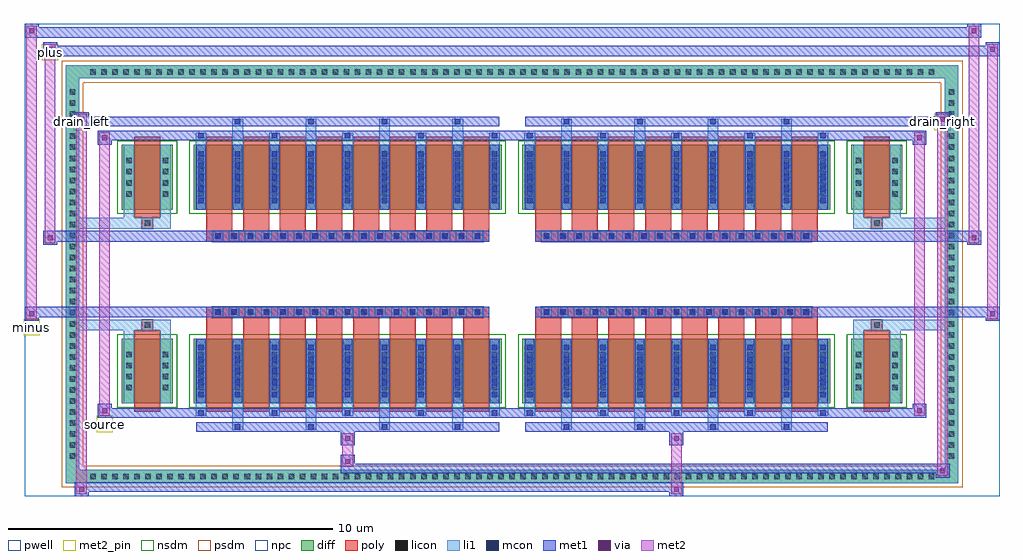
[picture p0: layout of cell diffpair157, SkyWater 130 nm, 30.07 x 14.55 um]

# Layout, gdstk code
import gdstk
lib = gdstk.Library(unit=1e-6, precision=5e-09)
def R(c, l, rs):  # rectangles x0, y0, x1, y1
    for r in rs: c.add(gdstk.rectangle(r[:2], r[2:], *l))
def A(c, l, x, y, w, h, nx, ny, dx, dy):  # array of equal rectangles
    R(c, l, [(x+i*dx, y+j*dy, x+i*dx+w, y+j*dy+h) for i in range(nx) for j in range(ny)])
def P(c, l, *ps):  # polygons
    for p in ps: c.add(gdstk.Polygon(p, *l))
pwell = (64, 44)
diff = (65, 20)
poly = (66, 20)
licon = (66, 44)
li1 = (67, 20)
mcon = (67, 44)
met1 = (68, 20)
via = (68, 44)
met2_pin = (69, 16)
met2 = (69, 20)
nsdm = (93, 44)
psdm = (94, 20)
npc = (95, 20)

diffpair157 = lib.new_cell('diffpair157')
R(diffpair157, pwell, [(-15.02,-6.84,15.02,7.71), (-12.34,-5.03,-0.01,-0.805), (0.01,-5.03,12.34,-0.805), (-12.34,0.805,-0.01,5.03), (0.01,0.805,12.34,5.03)])
A(diffpair157, diff, -13.125, -6.44, 0.41, 0.41, 77, 2, 0.34, 12.47)
A(diffpair157, diff, -13.75, -5.815, 0.41, 0.41, 1, 34, 0, 0.34)
A(diffpair157, diff, 13.34, -5.815, 0.41, 0.41, 1, 34, 0, 0.34)
R(diffpair157, diff, [(-13.125,-6.44,13.125,-6.03), (-13.75,-5.815,-13.34,5.815), (13.34,-5.815,13.75,5.815), (-12.03,-3.985,-10.45,-1.985), (-9.81,-3.985,-0.32,-1.985), (0.32,-3.985,9.81,-1.985), (10.45,-3.985,12.03,-1.985), (-12.03,1.985,-10.45,3.985), (-9.81,1.985,-0.32,3.985), (0.32,1.985,9.81,3.985), (10.45,1.985,12.03,3.985), (-13.125,6.03,13.125,6.44)])
P(diffpair157, diff, [(13.75,6.44),(-13.75,6.44),(-13.75,-6.03),(-13.34,-6.03),(-13.34,6.03),(13.34,6.03),(13.34,-6.03),(-13.34,-6.03),(-13.75,-6.03),(-13.75,-6.44),(13.75,-6.44)])
A(diffpair157, poly, -9.42, -4.235, 0.8, 2.5, 8, 2, 1.13, 5.97)
A(diffpair157, poly, 0.71, -4.235, 0.8, 2.5, 8, 2, 1.13, 5.97)
A(diffpair157, poly, -9.42, -1.735, 0.8, 0.4, 8, 2, 1.13, 3.07)
A(diffpair157, poly, 0.71, -1.735, 0.8, 0.4, 8, 2, 1.13, 3.07)
A(diffpair157, poly, -9.23, -1.335, 0.33, 0.33, 17, 2, 0.5, 2.34)
A(diffpair157, poly, 0.9, -1.335, 0.33, 0.33, 17, 2, 0.5, 2.34)
R(diffpair157, poly, [(-11.64,-4.235,-10.84,-1.735), (10.84,-4.235,11.64,-1.735), (-11.405,-1.735,-11.075,-1.405), (-11.405,-1.735,-11.075,-1.405), (11.075,-1.735,11.405,-1.405), (11.075,-1.735,11.405,-1.405), (-9.42,-1.335,-0.71,-1.005), (0.71,-1.335,9.42,-1.005), (-9.42,1.005,-0.71,1.335), (0.71,1.005,9.42,1.335), (-11.405,1.405,-11.075,1.735), (-11.405,1.405,-11.075,1.735), (11.075,1.405,11.405,1.735), (11.075,1.405,11.405,1.735), (-11.64,1.735,-10.84,4.235), (10.84,1.735,11.64,4.235)])
A(diffpair157, licon, -13.005, -6.32, 0.17, 0.17, 77, 2, 0.34, 12.47)
A(diffpair157, licon, -13.63, -5.695, 0.17, 0.17, 1, 34, 0, 0.34)
A(diffpair157, licon, 13.46, -5.695, 0.17, 0.17, 1, 34, 0, 0.34)
A(diffpair157, licon, -11.89, -3.58, 0.17, 0.17, 1, 4, 0, 0.34)
A(diffpair157, licon, -10.76, -3.58, 0.17, 0.17, 1, 4, 0, 0.34)
A(diffpair157, licon, -9.67, -3.58, 0.17, 0.17, 9, 4, 1.13, 0.34)
A(diffpair157, licon, 0.46, -3.58, 0.17, 0.17, 9, 4, 1.13, 0.34)
A(diffpair157, licon, 10.59, -3.58, 0.17, 0.17, 1, 4, 0, 0.34)
A(diffpair157, licon, 11.72, -3.58, 0.17, 0.17, 1, 4, 0, 0.34)
A(diffpair157, licon, -9.15, -1.255, 0.17, 0.17, 17, 2, 0.5, 2.34)
A(diffpair157, licon, 0.98, -1.255, 0.17, 0.17, 17, 2, 0.5, 2.34)
A(diffpair157, licon, -11.89, 2.39, 0.17, 0.17, 1, 4, 0, 0.34)
A(diffpair157, licon, -10.76, 2.39, 0.17, 0.17, 1, 4, 0, 0.34)
A(diffpair157, licon, -9.67, 2.39, 0.17, 0.17, 9, 4, 1.13, 0.34)
A(diffpair157, licon, 0.46, 2.39, 0.17, 0.17, 9, 4, 1.13, 0.34)
A(diffpair157, licon, 10.59, 2.39, 0.17, 0.17, 1, 4, 0, 0.34)
A(diffpair157, licon, 11.72, 2.39, 0.17, 0.17, 1, 4, 0, 0.34)
R(diffpair157, licon, [(-11.325,-1.655,-11.155,-1.485), (11.155,-1.655,11.325,-1.485), (-11.325,1.485,-11.155,1.655), (11.155,1.485,11.325,1.655)])
A(diffpair157, li1, -13.085, -6.4, 0.33, 0.33, 77, 2, 0.34, 12.47)
A(diffpair157, li1, -13.71, -5.775, 0.33, 0.33, 1, 34, 0, 0.34)
A(diffpair157, li1, 13.38, -5.775, 0.33, 0.33, 1, 34, 0, 0.34)
A(diffpair157, li1, -8.62, -4.79, 0.33, 0.805, 4, 2, 2.26, 8.775)
A(diffpair157, li1, -8.54, -4.79, 0.17, 0.17, 4, 2, 2.26, 9.41)
A(diffpair157, li1, 1.51, -4.79, 0.33, 0.805, 4, 2, 2.26, 8.775)
A(diffpair157, li1, 1.59, -4.79, 0.17, 0.17, 4, 2, 2.26, 9.41)
A(diffpair157, li1, -9.75, -4.36, 0.33, 0.375, 5, 2, 2.26, 8.345)
A(diffpair157, li1, -9.67, -4.36, 0.17, 0.17, 5, 2, 2.26, 8.55)
A(diffpair157, li1, 0.38, -4.36, 0.33, 0.375, 5, 2, 2.26, 8.345)
A(diffpair157, li1, 0.46, -4.36, 0.17, 0.17, 5, 2, 2.26, 8.55)
A(diffpair157, li1, -9.75, -3.985, 0.33, 2, 9, 2, 1.13, 5.97)
A(diffpair157, li1, 0.38, -3.985, 0.33, 2, 9, 2, 1.13, 5.97)
A(diffpair157, li1, -9.67, -3.79, 0.17, 0.17, 9, 5, 1.13, 0.36)
A(diffpair157, li1, -9.67, -3.79, 0.17, 1.61, 9, 2, 1.13, 5.97)
A(diffpair157, li1, 0.46, -3.79, 0.17, 0.17, 9, 5, 1.13, 0.36)
A(diffpair157, li1, 0.46, -3.79, 0.17, 1.61, 9, 2, 1.13, 5.97)
A(diffpair157, li1, -11.97, -3.66, 0.33, 0.33, 1, 4, 0, 0.34)
A(diffpair157, li1, -10.84, -3.66, 0.33, 0.33, 1, 4, 0, 0.34)
A(diffpair157, li1, -9.75, -3.66, 0.33, 0.33, 9, 4, 1.13, 0.34)
A(diffpair157, li1, 0.38, -3.66, 0.33, 0.33, 9, 4, 1.13, 0.34)
A(diffpair157, li1, 10.51, -3.66, 0.33, 0.33, 1, 4, 0, 0.34)
A(diffpair157, li1, 11.64, -3.66, 0.33, 0.33, 1, 4, 0, 0.34)
A(diffpair157, li1, -9.23, -1.335, 0.33, 0.33, 17, 2, 0.5, 2.34)
A(diffpair157, li1, 0.9, -1.335, 0.33, 0.33, 17, 2, 0.5, 2.34)
A(diffpair157, li1, -9.67, 2.18, 0.17, 0.17, 9, 5, 1.13, 0.36)
A(diffpair157, li1, 0.46, 2.18, 0.17, 0.17, 9, 5, 1.13, 0.36)
A(diffpair157, li1, -11.97, 2.31, 0.33, 0.33, 1, 4, 0, 0.34)
A(diffpair157, li1, -10.84, 2.31, 0.33, 0.33, 1, 4, 0, 0.34)
A(diffpair157, li1, -9.75, 2.31, 0.33, 0.33, 9, 4, 1.13, 0.34)
A(diffpair157, li1, 0.38, 2.31, 0.33, 0.33, 9, 4, 1.13, 0.34)
A(diffpair157, li1, 10.51, 2.31, 0.33, 0.33, 1, 4, 0, 0.34)
A(diffpair157, li1, 11.64, 2.31, 0.33, 0.33, 1, 4, 0, 0.34)
R(diffpair157, li1, [(-13.75,-6.44,-13.34,-6.03), (-13.75,-6.44,-13.34,-6.03), (-13.34,-6.44,13.34,-6.03), (13.34,-6.44,13.75,-6.03), (13.34,-6.44,13.75,-6.03), (-13.75,-6.03,-13.34,6.03), (13.34,-6.03,13.75,6.03), (-11.97,-3.985,-11.64,-1.985), (-10.84,-3.985,-10.51,-1.985), (10.51,-3.985,10.84,-1.985), (11.64,-3.985,11.97,-1.985), (-11.97,-1.985,-11.64,-1.405), (-10.84,-1.985,-10.51,-1.405), (10.51,-1.985,10.84,-1.405), (11.64,-1.985,11.97,-1.405), (-13.75,-1.735,-11.405,-1.405), (-11.97,-1.735,-11.405,-1.405), (-11.405,-1.735,-11.075,-1.405), (-11.075,-1.735,-10.51,-1.405), (10.51,-1.735,11.075,-1.405), (11.075,-1.735,11.405,-1.405), (11.075,-1.735,13.75,-1.405), (11.405,-1.735,11.97,-1.405), (-13.75,1.405,-11.405,1.735), (-11.97,1.405,-11.405,1.735), (-11.97,1.405,-11.64,1.985), (-11.405,1.405,-11.075,1.735), (-11.075,1.405,-10.51,1.735), (-10.84,1.405,-10.51,1.985), (10.51,1.405,11.075,1.735), (10.51,1.405,10.84,1.985), (11.075,1.405,11.405,1.735), (11.075,1.405,13.75,1.735), (11.405,1.405,11.97,1.735), (11.64,1.405,11.97,1.985), (-11.97,1.985,-11.64,3.985), (-10.84,1.985,-10.51,3.985), (10.51,1.985,10.84,3.985), (11.64,1.985,11.97,3.985), (-13.75,6.03,-13.34,6.44), (-13.75,6.03,-13.34,6.44), (-13.34,6.03,13.34,6.44), (13.34,6.03,13.75,6.44), (13.34,6.03,13.75,6.44)])
A(diffpair157, mcon, -8.54, -4.79, 0.17, 0.17, 4, 2, 2.26, 9.41)
A(diffpair157, mcon, 1.59, -4.79, 0.17, 0.17, 4, 2, 2.26, 9.41)
A(diffpair157, mcon, -9.67, -4.36, 0.17, 0.17, 5, 2, 2.26, 8.55)
A(diffpair157, mcon, 0.46, -4.36, 0.17, 0.17, 5, 2, 2.26, 8.55)
A(diffpair157, mcon, -9.67, -3.79, 0.17, 0.17, 9, 5, 1.13, 0.36)
A(diffpair157, mcon, 0.46, -3.79, 0.17, 0.17, 9, 5, 1.13, 0.36)
A(diffpair157, mcon, -9.15, -1.255, 0.17, 0.17, 17, 2, 0.5, 2.34)
A(diffpair157, mcon, 0.98, -1.255, 0.17, 0.17, 17, 2, 0.5, 2.34)
A(diffpair157, mcon, -9.67, 2.18, 0.17, 0.17, 9, 5, 1.13, 0.36)
A(diffpair157, mcon, 0.46, 2.18, 0.17, 0.17, 9, 5, 1.13, 0.36)
A(diffpair157, met1, -8.6, -4.85, 0.29, 0.29, 4, 2, 2.26, 9.41)
A(diffpair157, met1, 1.53, -4.85, 0.29, 0.29, 4, 2, 2.26, 9.41)
A(diffpair157, met1, -9.73, -4.42, 0.29, 0.29, 5, 2, 2.26, 8.55)
A(diffpair157, met1, 0.4, -4.42, 0.29, 0.29, 5, 2, 2.26, 8.55)
A(diffpair157, met1, -9.73, -3.985, 0.29, 2, 9, 2, 1.13, 5.97)
A(diffpair157, met1, 0.4, -3.985, 0.29, 2, 9, 2, 1.13, 5.97)
A(diffpair157, met1, -9.73, -3.85, 0.29, 0.29, 9, 5, 1.13, 0.36)
A(diffpair157, met1, 0.4, -3.85, 0.29, 0.29, 9, 5, 1.13, 0.36)
A(diffpair157, met1, -9.21, -1.315, 0.29, 0.29, 17, 2, 0.5, 2.34)
A(diffpair157, met1, 0.92, -1.315, 0.29, 0.29, 17, 2, 0.5, 2.34)
A(diffpair157, met1, -9.73, 2.12, 0.29, 0.29, 9, 5, 1.13, 0.36)
A(diffpair157, met1, 0.4, 2.12, 0.29, 0.29, 9, 5, 1.13, 0.36)
R(diffpair157, met1, [(-13.48,-6.84,-13.05,-6.41), (4.85,-6.84,5.28,-6.41), (-13.48,-6.7,5.28,-6.41), (13.05,-6.27,13.48,-5.84), (-5.28,-6.13,13.48,-5.84), (-5.28,-5.99,-4.85,-5.56), (-5.28,-5.28,-4.85,-4.85), (4.85,-5.28,5.28,-4.85), (-9.73,-4.85,-0.4,-4.56), (0.4,-4.85,9.73,-4.56), (-12.77,-4.42,-12.34,-3.99), (-12.77,-4.42,-9.73,-4.13), (-9.73,-4.42,-0.4,-4.13), (-0.4,-4.42,0.4,-4.13), (0.4,-4.42,9.73,-4.13), (9.73,-4.42,12.77,-4.13), (12.34,-4.42,12.77,-3.99), (-15.02,-1.435,-14.59,-1.005), (14.59,-1.435,15.02,-1.005), (-15.02,-1.335,-0.71,-1.005), (-9.42,-1.335,-0.71,-1.005), (0.71,-1.335,9.42,-1.005), (0.71,-1.335,15.02,-1.005), (-14.45,0.905,-14.02,1.335), (14.02,0.905,14.45,1.335), (-14.45,1.005,-9.42,1.335), (-9.42,1.005,-0.71,1.335), (0.71,1.005,9.42,1.335), (9.42,1.005,14.45,1.335), (-12.77,3.99,-12.34,4.42), (12.34,3.99,12.77,4.42), (-12.77,4.13,-9.73,4.42), (-9.73,4.13,-0.4,4.42), (-0.4,4.13,0.4,4.42), (0.4,4.13,9.73,4.42), (9.73,4.13,12.77,4.42), (-13.48,4.56,-13.05,4.99), (-13.48,4.56,-9.73,4.85), (-9.73,4.56,-0.4,4.85), (0.4,4.56,9.73,4.85), (9.73,4.56,13.48,4.85), (13.05,4.56,13.48,4.99), (-14.45,6.71,-14.02,7.14), (-14.45,6.71,-12.34,7.04), (-12.34,6.71,12.34,7.04), (12.34,6.71,15.02,7.04), (14.59,6.71,15.02,7.14), (-15.02,7.28,-14.59,7.71), (-15.02,7.28,-12.34,7.61), (-12.34,7.28,12.34,7.61), (12.34,7.28,14.45,7.61), (14.02,7.28,14.45,7.71)])
R(diffpair157, via, [(-13.34,-6.7,-13.19,-6.55), (4.99,-6.7,5.14,-6.55), (13.19,-6.13,13.34,-5.98), (-5.14,-5.85,-4.99,-5.7), (-5.14,-5.14,-4.99,-4.99), (4.99,-5.14,5.14,-4.99), (-12.63,-4.28,-12.48,-4.13), (12.48,-4.28,12.63,-4.13), (-14.88,-1.295,-14.73,-1.145), (14.73,-1.295,14.88,-1.145), (-14.31,1.045,-14.16,1.195), (14.16,1.045,14.31,1.195), (-12.63,4.13,-12.48,4.28), (12.48,4.13,12.63,4.28), (-13.34,4.7,-13.19,4.85), (13.19,4.7,13.34,4.85), (-14.31,6.85,-14.16,7), (14.73,6.85,14.88,7), (-14.88,7.42,-14.73,7.57), (14.16,7.42,14.31,7.57)])
R(diffpair157, met2_pin, [(-12.805,-4.87,-12.305,-4.37), (-15.055,-1.885,-14.555,-1.385), (-13.515,4.44,-13.015,4.94), (13.015,4.44,13.515,4.94), (-14.485,6.59,-13.985,7.09)])
R(diffpair157, met2, [(-13.43,-6.79,-13.1,-6.46), (-13.43,-6.79,-13.1,4.94), (4.9,-6.79,5.23,-6.46), (4.9,-6.46,5.23,-5.23), (13.1,-6.22,13.43,-5.89), (13.1,-6.22,13.43,4.94), (-5.23,-5.94,-4.9,-5.61), (-5.23,-5.61,-4.9,-5.23), (-5.23,-5.23,-4.9,-4.9), (4.9,-5.23,5.23,-4.9), (-12.72,-4.37,-12.39,-4.04), (-12.72,-4.37,-12.39,4.37), (12.39,-4.37,12.72,-4.04), (12.39,-4.37,12.72,4.37), (-14.97,-1.385,-14.64,-1.055), (-14.97,-1.385,-14.64,7.66), (14.64,-1.385,14.97,-1.055), (14.64,-1.385,14.97,7.09), (-14.4,0.955,-14.07,1.285), (-14.4,0.955,-14.07,7.09), (14.07,0.955,14.4,1.285), (14.07,0.955,14.4,7.66), (-12.72,4.04,-12.39,4.37), (12.39,4.04,12.72,4.37), (-13.43,4.61,-13.1,4.94), (13.1,4.61,13.43,4.94), (-14.4,6.76,-14.07,7.09), (14.64,6.76,14.97,7.09), (-14.97,7.33,-14.64,7.66), (14.07,7.33,14.4,7.66)])
P(diffpair157, met2, [(14.97,-1.385),(14.97,-1.385),(14.97,-1.055),(14.97,-1.055)],
  [(14.97,6.76),(14.97,6.76),(14.97,7.09),(14.97,7.09)],
  [(-14.64,-1.385),(-14.64,-1.385),(-14.64,-1.055),(-14.64,-1.055)],
  [(-14.64,7.33),(-14.64,7.33),(-14.64,7.66),(-14.64,7.66)],
  [(14.4,0.955),(14.4,0.955),(14.4,1.285),(14.4,1.285)],
  [(14.4,7.33),(14.4,7.33),(14.4,7.66),(14.4,7.66)],
  [(-14.07,0.955),(-14.07,0.955),(-14.07,1.285),(-14.07,1.285)],
  [(-14.07,6.76),(-14.07,6.76),(-14.07,7.09),(-14.07,7.09)],
  [(-13.1,-6.79),(-13.1,-6.79),(-13.1,-6.46),(-13.1,-6.46)],
  [(-13.1,4.61),(-13.1,4.61),(-13.1,4.94),(-13.1,4.94)],
  [(13.43,-6.22),(13.43,-6.22),(13.43,-5.89),(13.43,-5.89)],
  [(13.43,4.61),(13.43,4.61),(13.43,4.94),(13.43,4.94)],
  [(-12.39,-4.37),(-12.39,-4.37),(-12.39,-4.04),(-12.39,-4.04)],
  [(-12.39,4.04),(-12.39,4.04),(-12.39,4.37),(-12.39,4.37)],
  [(12.72,-4.37),(12.72,-4.37),(12.72,-4.04),(12.72,-4.04)],
  [(12.72,4.04),(12.72,4.04),(12.72,4.37),(12.72,4.37)])
R(diffpair157, nsdm, [(-12.16,-4.115,-10.32,-1.855), (-9.94,-4.115,-0.19,-1.855), (0.19,-4.115,9.94,-1.855), (10.32,-4.115,12.16,-1.855), (-12.16,1.855,-10.32,4.115), (-9.94,1.855,-0.19,4.115), (0.19,1.855,9.94,4.115), (10.32,1.855,12.16,4.115)])
P(diffpair157, psdm, [(13.88,6.57),(-13.88,6.57),(-13.88,-5.9),(-13.21,-5.9),(-13.21,5.9),(13.21,5.9),(13.21,-5.9),(-13.21,-5.9),(-13.88,-5.9),(-13.88,-6.57),(13.88,-6.57)])
A(diffpair157, npc, -9.25, -1.355, 0.37, 0.37, 17, 2, 0.5, 2.34)
A(diffpair157, npc, 0.88, -1.355, 0.37, 0.37, 17, 2, 0.5, 2.34)
R(diffpair157, npc, [(-11.425,-1.755,-11.055,-1.385), (11.055,-1.755,11.425,-1.385), (-9.25,-1.355,-8.38,-0.985), (-9.25,-1.355,-8.38,-0.985), (-8.75,-1.355,-7.88,-0.985), (-8.75,-1.355,-7.88,-0.985), (-8.25,-1.355,-7.38,-0.985), (-8.25,-1.355,-7.38,-0.985), (-7.75,-1.355,-6.88,-0.985), (-7.75,-1.355,-6.88,-0.985), (-7.25,-1.355,-6.38,-0.985), (-7.25,-1.355,-6.38,-0.985), (-6.75,-1.355,-5.88,-0.985), (-6.75,-1.355,-5.88,-0.985), (-6.25,-1.355,-5.38,-0.985), (-6.25,-1.355,-5.38,-0.985), (-5.75,-1.355,-4.88,-0.985), (-5.75,-1.355,-4.88,-0.985), (-5.25,-1.355,-4.38,-0.985), (-5.25,-1.355,-4.38,-0.985), (-4.75,-1.355,-3.88,-0.985), (-4.75,-1.355,-3.88,-0.985), (-4.25,-1.355,-3.38,-0.985), (-4.25,-1.355,-3.38,-0.985), (-3.75,-1.355,-2.88,-0.985), (-3.75,-1.355,-2.88,-0.985), (-3.25,-1.355,-2.38,-0.985), (-3.25,-1.355,-2.38,-0.985), (-2.75,-1.355,-1.88,-0.985), (-2.75,-1.355,-1.88,-0.985), (-2.25,-1.355,-1.38,-0.985), (-2.25,-1.355,-1.38,-0.985), (-1.75,-1.355,-0.88,-0.985), (-1.75,-1.355,-0.88,-0.985), (0.88,-1.355,1.75,-0.985), (0.88,-1.355,1.75,-0.985), (1.38,-1.355,2.25,-0.985), (1.38,-1.355,2.25,-0.985), (1.88,-1.355,2.75,-0.985), (1.88,-1.355,2.75,-0.985), (2.38,-1.355,3.25,-0.985), (2.38,-1.355,3.25,-0.985), (2.88,-1.355,3.75,-0.985), (2.88,-1.355,3.75,-0.985), (3.38,-1.355,4.25,-0.985), (3.38,-1.355,4.25,-0.985), (3.88,-1.355,4.75,-0.985), (3.88,-1.355,4.75,-0.985), (4.38,-1.355,5.25,-0.985), (4.38,-1.355,5.25,-0.985), (4.88,-1.355,5.75,-0.985), (4.88,-1.355,5.75,-0.985), (5.38,-1.355,6.25,-0.985), (5.38,-1.355,6.25,-0.985), (5.88,-1.355,6.75,-0.985), (5.88,-1.355,6.75,-0.985), (6.38,-1.355,7.25,-0.985), (6.38,-1.355,7.25,-0.985), (6.88,-1.355,7.75,-0.985), (6.88,-1.355,7.75,-0.985), (7.38,-1.355,8.25,-0.985), (7.38,-1.355,8.25,-0.985), (7.88,-1.355,8.75,-0.985), (7.88,-1.355,8.75,-0.985), (8.38,-1.355,9.25,-0.985), (8.38,-1.355,9.25,-0.985), (-9.25,0.985,-8.38,1.355), (-9.25,0.985,-8.38,1.355), (-8.75,0.985,-7.88,1.355), (-8.75,0.985,-7.88,1.355), (-8.25,0.985,-7.38,1.355), (-8.25,0.985,-7.38,1.355), (-7.75,0.985,-6.88,1.355), (-7.75,0.985,-6.88,1.355), (-7.25,0.985,-6.38,1.355), (-7.25,0.985,-6.38,1.355), (-6.75,0.985,-5.88,1.355), (-6.75,0.985,-5.88,1.355), (-6.25,0.985,-5.38,1.355), (-6.25,0.985,-5.38,1.355), (-5.75,0.985,-4.88,1.355), (-5.75,0.985,-4.88,1.355), (-5.25,0.985,-4.38,1.355), (-5.25,0.985,-4.38,1.355), (-4.75,0.985,-3.88,1.355), (-4.75,0.985,-3.88,1.355), (-4.25,0.985,-3.38,1.355), (-4.25,0.985,-3.38,1.355), (-3.75,0.985,-2.88,1.355), (-3.75,0.985,-2.88,1.355), (-3.25,0.985,-2.38,1.355), (-3.25,0.985,-2.38,1.355), (-2.75,0.985,-1.88,1.355), (-2.75,0.985,-1.88,1.355), (-2.25,0.985,-1.38,1.355), (-2.25,0.985,-1.38,1.355), (-1.75,0.985,-0.88,1.355), (-1.75,0.985,-0.88,1.355), (0.88,0.985,1.75,1.355), (0.88,0.985,1.75,1.355), (1.38,0.985,2.25,1.355), (1.38,0.985,2.25,1.355), (1.88,0.985,2.75,1.355), (1.88,0.985,2.75,1.355), (2.38,0.985,3.25,1.355), (2.38,0.985,3.25,1.355), (2.88,0.985,3.75,1.355), (2.88,0.985,3.75,1.355), (3.38,0.985,4.25,1.355), (3.38,0.985,4.25,1.355), (3.88,0.985,4.75,1.355), (3.88,0.985,4.75,1.355), (4.38,0.985,5.25,1.355), (4.38,0.985,5.25,1.355), (4.88,0.985,5.75,1.355), (4.88,0.985,5.75,1.355), (5.38,0.985,6.25,1.355), (5.38,0.985,6.25,1.355), (5.88,0.985,6.75,1.355), (5.88,0.985,6.75,1.355), (6.38,0.985,7.25,1.355), (6.38,0.985,7.25,1.355), (6.88,0.985,7.75,1.355), (6.88,0.985,7.75,1.355), (7.38,0.985,8.25,1.355), (7.38,0.985,8.25,1.355), (7.88,0.985,8.75,1.355), (7.88,0.985,8.75,1.355), (8.38,0.985,9.25,1.355), (8.38,0.985,9.25,1.355), (-11.425,1.385,-11.055,1.755), (11.055,1.385,11.425,1.755)])
diffpair157.add(gdstk.Label('minus', (-14.805,-1.635), layer=69, texttype=5))
diffpair157.add(gdstk.Label('drain_right', (13.265,4.69), layer=69, texttype=5))
diffpair157.add(gdstk.Label('drain_left', (-13.265,4.69), layer=69, texttype=5))
diffpair157.add(gdstk.Label('source', (-12.555,-4.62), layer=69, texttype=5))
diffpair157.add(gdstk.Label('plus', (-14.235,6.84), layer=69, texttype=5))

lib.write_gds('diffpair157.gds')
